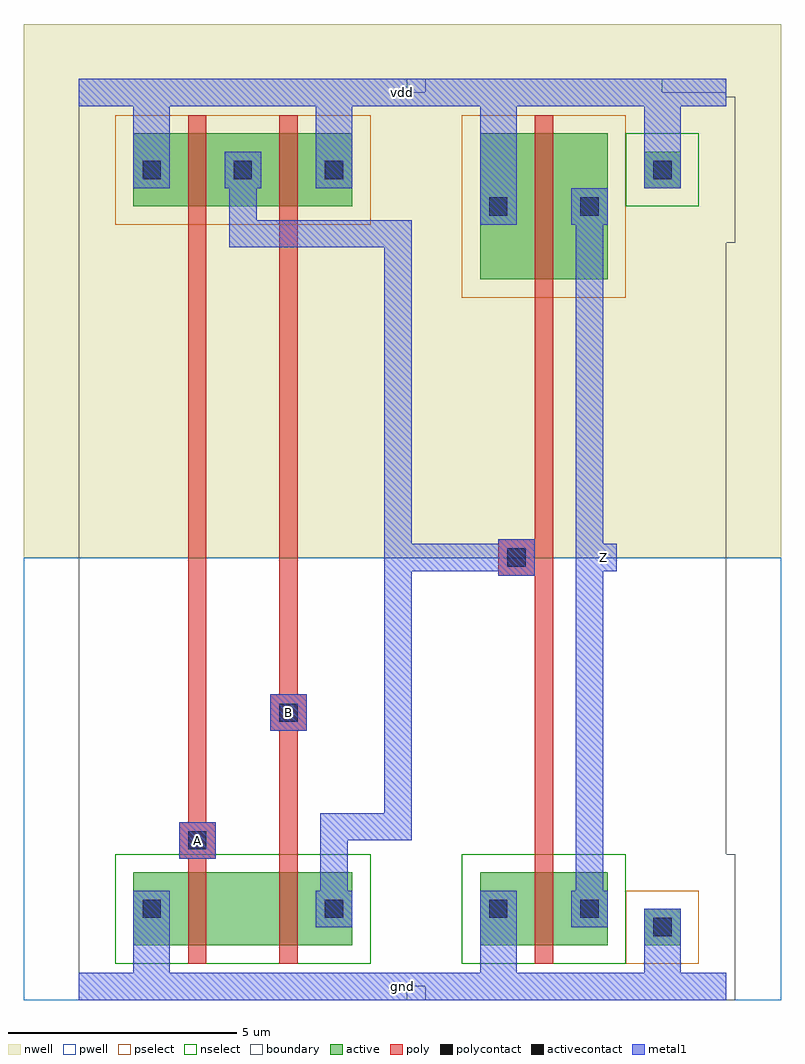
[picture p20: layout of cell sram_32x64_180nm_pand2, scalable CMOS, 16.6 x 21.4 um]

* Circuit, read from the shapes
.subckt sram_32x64_180nm_pand2 A B Z gnd vdd
M1 sram_32x64_180nm_pnand2_0_0/sram_32x64_180nm_nmos_m1_w1_600_sm1_dactive_2/D A gnd gnd nfet w=1.6u l=0.4u
M2 sram_32x64_180nm_pdriver_1/A B sram_32x64_180nm_pnand2_0_0/sram_32x64_180nm_nmos_m1_w1_600_sm1_dactive_2/D gnd nfet w=1.6u l=0.4u
M3 Z sram_32x64_180nm_pdriver_1/A gnd gnd nfet w=1.6u l=0.4u
M4 sram_32x64_180nm_pdriver_1/A A vdd vdd pfet w=1.6u l=0.4u
M5 vdd B sram_32x64_180nm_pdriver_1/A vdd pfet w=1.6u l=0.4u
M6 Z sram_32x64_180nm_pdriver_1/A vdd vdd pfet w=3.2u l=0.4u
.ends

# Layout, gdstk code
import gdstk
lib = gdstk.Library(unit=1e-6, precision=1e-09)
def R(c, l, rs):  # rectangles x0, y0, x1, y1
    for r in rs: c.add(gdstk.rectangle(r[:2], r[2:], *l))
pwell = (41, 0)
nwell = (42, 0)
active = (43, 0)
pselect = (44, 0)
nselect = (45, 0)
poly = (46, 0)
polycontact = (47, 0)
activecontact = (48, 0)
metal1 = (49, 0)
boundary = (63, 0)

sram_32x64_180nm_contact = lib.new_cell('sram_32x64_180nm_contact_12')
R(sram_32x64_180nm_contact, nwell, [(-1.2,-1.2,2,2)])
R(sram_32x64_180nm_contact, active, [(0,0,0.8,0.8)])
R(sram_32x64_180nm_contact, pselect, [(-0.4,-0.4,1.2,1.2)])
R(sram_32x64_180nm_contact, activecontact, [(0.2,0.2,0.6,0.6)])
R(sram_32x64_180nm_contact, metal1, [(0,0,0.8,0.8)])
R(sram_32x64_180nm_contact, boundary, [(-1.2,-1.2,2,2)])

sram_32x64_180nm_pmos_m1 = lib.new_cell('sram_32x64_180nm_pmos_m1_w1_600_sm1_dm1')
R(sram_32x64_180nm_pmos_m1, nwell, [(-1.2,-1.2,4,2.8)])
R(sram_32x64_180nm_pmos_m1, active, [(0,0,2.8,1.6)])
R(sram_32x64_180nm_pmos_m1, pselect, [(-0.4,-0.4,3.2,2)])
R(sram_32x64_180nm_pmos_m1, poly, [(1.2,-0.4,1.6,2), (1.2,-0.4,1.6,2)])
R(sram_32x64_180nm_pmos_m1, metal1, [(0,0.4,0.8,1.2), (2,0.4,2.8,1.2)])
R(sram_32x64_180nm_pmos_m1, boundary, [(-1.2,-1.2,4,2.8)])
sram_32x64_180nm_pmos_m1.add(gdstk.Reference(sram_32x64_180nm_contact, (0,0.4)))
sram_32x64_180nm_pmos_m1.add(gdstk.Reference(sram_32x64_180nm_contact, (2,0.4)))
sram_32x64_180nm_pmos_m1.add(gdstk.Label('G', (1.4,0.8), layer=46, texttype=0))
sram_32x64_180nm_pmos_m1.add(gdstk.Label('S', (0.4,0.8), layer=49, texttype=0))
sram_32x64_180nm_pmos_m1.add(gdstk.Label('D', (2.4,0.8), layer=49, texttype=0))

c_sram_32x64_180nm_contact = lib.new_cell('sram_32x64_180nm_contact_11')
R(c_sram_32x64_180nm_contact, pwell, [(-1.2,-1.2,2,2)])
R(c_sram_32x64_180nm_contact, active, [(0,0,0.8,0.8)])
R(c_sram_32x64_180nm_contact, nselect, [(-0.4,-0.4,1.2,1.2)])
R(c_sram_32x64_180nm_contact, activecontact, [(0.2,0.2,0.6,0.6)])
R(c_sram_32x64_180nm_contact, metal1, [(0,0,0.8,0.8)])
R(c_sram_32x64_180nm_contact, boundary, [(-1.2,-1.2,2,2)])

sram_32x64_180nm_nmos_m1 = lib.new_cell('sram_32x64_180nm_nmos_m1_w1_600_sm1_dactive')
R(sram_32x64_180nm_nmos_m1, pwell, [(-1.2,-1.2,4,2.8)])
R(sram_32x64_180nm_nmos_m1, active, [(0,0,2.8,1.6), (2.1,0.5,2.7,1.1)])
R(sram_32x64_180nm_nmos_m1, nselect, [(-0.4,-0.4,3.2,2)])
R(sram_32x64_180nm_nmos_m1, poly, [(1.2,-0.4,1.6,2), (1.2,-0.4,1.6,2)])
R(sram_32x64_180nm_nmos_m1, metal1, [(0,0.4,0.8,1.2)])
R(sram_32x64_180nm_nmos_m1, boundary, [(-1.2,-1.2,4,2.8)])
sram_32x64_180nm_nmos_m1.add(gdstk.Reference(c_sram_32x64_180nm_contact, (0,0.4)))
sram_32x64_180nm_nmos_m1.add(gdstk.Label('G', (1.4,0.8), layer=46, texttype=0))
sram_32x64_180nm_nmos_m1.add(gdstk.Label('S', (0.4,0.8), layer=49, texttype=0))
sram_32x64_180nm_nmos_m1.add(gdstk.Label('D', (2.4,0.8), layer=43, texttype=0))

c_sram_32x64_180nm_nmos_m1 = lib.new_cell('sram_32x64_180nm_nmos_m1_w1_600_sactive_dm1')
R(c_sram_32x64_180nm_nmos_m1, pwell, [(-1.2,-1.2,4,2.8)])
R(c_sram_32x64_180nm_nmos_m1, active, [(0,0,2.8,1.6), (0.1,0.5,0.7,1.1)])
R(c_sram_32x64_180nm_nmos_m1, nselect, [(-0.4,-0.4,3.2,2)])
R(c_sram_32x64_180nm_nmos_m1, poly, [(1.2,-0.4,1.6,2), (1.2,-0.4,1.6,2)])
R(c_sram_32x64_180nm_nmos_m1, metal1, [(2,0.4,2.8,1.2)])
R(c_sram_32x64_180nm_nmos_m1, boundary, [(-1.2,-1.2,4,2.8)])
c_sram_32x64_180nm_nmos_m1.add(gdstk.Reference(c_sram_32x64_180nm_contact, (2,0.4)))
c_sram_32x64_180nm_nmos_m1.add(gdstk.Label('G', (1.4,0.8), layer=46, texttype=0))
c_sram_32x64_180nm_nmos_m1.add(gdstk.Label('S', (0.4,0.8), layer=43, texttype=0))
c_sram_32x64_180nm_nmos_m1.add(gdstk.Label('D', (2.4,0.8), layer=49, texttype=0))

c_sram_32x64_180nm_contact_ = lib.new_cell('sram_32x64_180nm_contact_15')
R(c_sram_32x64_180nm_contact_, poly, [(0,0,0.8,0.8)])
R(c_sram_32x64_180nm_contact_, polycontact, [(0.2,0.2,0.6,0.6)])
R(c_sram_32x64_180nm_contact_, metal1, [(0,0,0.8,0.8)])
R(c_sram_32x64_180nm_contact_, boundary, [(0,0,0.8,0.8)])

sram_32x64_180nm_pnand2_ = lib.new_cell('sram_32x64_180nm_pnand2_0')
R(sram_32x64_180nm_pnand2_, pwell, [(-1.2,-0.3,8.8,9.4)])
R(sram_32x64_180nm_pnand2_, nwell, [(-1.2,9.4,8.8,21.1)])
R(sram_32x64_180nm_pnand2_, poly, [(2.4,2.8,2.6,3.6), (2.4,2.9,2.8,16.7), (4.4,2.9,4.8,16.7), (4.4,5.6,4.6,6.4)])
R(sram_32x64_180nm_pnand2_, metal1, [(0,-0.3,7.6,0.3), (1.2,-0.3,2,1.3), (5.3,2.1,5.9,3.5), (2.2,2.8,3,3.6), (5.3,3.2,5.9,3.8), (5.6,3.2,7,3.8), (6.7,3.2,7.3,3.8), (6.7,3.5,7.3,16.5), (4.2,5.6,5,6.4), (3.3,16.2,3.9,16.8), (3.6,16.2,7,16.8), (6.7,16.2,7.3,16.8), (3.3,16.5,3.9,17.5), (1.2,17.5,2,19.9), (5.2,17.5,6,19.9), (0,19.3,7.6,19.9)])
R(sram_32x64_180nm_pnand2_, boundary, [(0,0,7.6,19.6), (0,0,7.6,19.6)])
sram_32x64_180nm_pnand2_.add(gdstk.Reference(sram_32x64_180nm_pmos_m1, (1.2,17.1)))
sram_32x64_180nm_pnand2_.add(gdstk.Reference(sram_32x64_180nm_pmos_m1, (3.2,17.1)))
sram_32x64_180nm_pnand2_.add(gdstk.Reference(sram_32x64_180nm_nmos_m1, (1.2,0.9)))
sram_32x64_180nm_pnand2_.add(gdstk.Reference(c_sram_32x64_180nm_nmos_m1, (3.2,0.9)))
sram_32x64_180nm_pnand2_.add(gdstk.Reference(c_sram_32x64_180nm_contact_, (2.2,2.8)))
sram_32x64_180nm_pnand2_.add(gdstk.Reference(c_sram_32x64_180nm_contact_, (4.2,5.6)))
sram_32x64_180nm_pnand2_.add(gdstk.Label('Z', (7,16.5), layer=49, texttype=0))
sram_32x64_180nm_pnand2_.add(gdstk.Label('gnd', (3.8,0), layer=49, texttype=0))
sram_32x64_180nm_pnand2_.add(gdstk.Label('vdd', (3.8,19.6), layer=49, texttype=0))
sram_32x64_180nm_pnand2_.add(gdstk.Label('A', (2.6,3.2), layer=49, texttype=0))
sram_32x64_180nm_pnand2_.add(gdstk.Label('B', (4.6,6), layer=49, texttype=0))

c_sram_32x64_180nm_pmos_m1 = lib.new_cell('sram_32x64_180nm_pmos_m1_w3_200_sm1_dm1_da_p')
R(c_sram_32x64_180nm_pmos_m1, nwell, [(-1.2,-1.2,4,4.4)])
R(c_sram_32x64_180nm_pmos_m1, active, [(0,0,2.8,3.2)])
R(c_sram_32x64_180nm_pmos_m1, pselect, [(-0.4,-0.4,3.2,3.6)])
R(c_sram_32x64_180nm_pmos_m1, poly, [(1.2,-0.4,1.6,3.6), (1.2,-0.4,1.6,3.6)])
R(c_sram_32x64_180nm_pmos_m1, metal1, [(0,1.2,0.8,2), (2,1.2,2.8,2)])
R(c_sram_32x64_180nm_pmos_m1, boundary, [(-1.2,-1.2,4,4.4)])
c_sram_32x64_180nm_pmos_m1.add(gdstk.Reference(sram_32x64_180nm_contact, (0,1.2)))
c_sram_32x64_180nm_pmos_m1.add(gdstk.Reference(sram_32x64_180nm_contact, (2,1.2)))
c_sram_32x64_180nm_pmos_m1.add(gdstk.Label('G', (1.4,1.6), layer=46, texttype=0))
c_sram_32x64_180nm_pmos_m1.add(gdstk.Label('S', (0.4,1.6), layer=49, texttype=0))
c_sram_32x64_180nm_pmos_m1.add(gdstk.Label('D', (2.4,1.6), layer=49, texttype=0))

c_sram_32x64_180nm_nmos_m1_ = lib.new_cell('sram_32x64_180nm_nmos_m1_w1_600_sm1_dm1_da_p')
R(c_sram_32x64_180nm_nmos_m1_, pwell, [(-1.2,-1.2,4,2.8)])
R(c_sram_32x64_180nm_nmos_m1_, active, [(0,0,2.8,1.6)])
R(c_sram_32x64_180nm_nmos_m1_, nselect, [(-0.4,-0.4,3.2,2)])
R(c_sram_32x64_180nm_nmos_m1_, poly, [(1.2,-0.4,1.6,2), (1.2,-0.4,1.6,2)])
R(c_sram_32x64_180nm_nmos_m1_, metal1, [(0,0.4,0.8,1.2), (2,0.4,2.8,1.2)])
R(c_sram_32x64_180nm_nmos_m1_, boundary, [(-1.2,-1.2,4,2.8)])
c_sram_32x64_180nm_nmos_m1_.add(gdstk.Reference(c_sram_32x64_180nm_contact, (0,0.4)))
c_sram_32x64_180nm_nmos_m1_.add(gdstk.Reference(c_sram_32x64_180nm_contact, (2,0.4)))
c_sram_32x64_180nm_nmos_m1_.add(gdstk.Label('G', (1.4,0.8), layer=46, texttype=0))
c_sram_32x64_180nm_nmos_m1_.add(gdstk.Label('S', (0.4,0.8), layer=49, texttype=0))
c_sram_32x64_180nm_nmos_m1_.add(gdstk.Label('D', (2.4,0.8), layer=49, texttype=0))

c_sram_32x64_180nm_contact__ = lib.new_cell('sram_32x64_180nm_contact_13')
R(c_sram_32x64_180nm_contact__, nwell, [(-1.2,-1.2,2,2)])
R(c_sram_32x64_180nm_contact__, active, [(0,0,0.8,0.8)])
R(c_sram_32x64_180nm_contact__, nselect, [(-0.4,-0.4,1.2,1.2)])
R(c_sram_32x64_180nm_contact__, activecontact, [(0.2,0.2,0.6,0.6)])
R(c_sram_32x64_180nm_contact__, metal1, [(0,0,0.8,0.8)])
R(c_sram_32x64_180nm_contact__, boundary, [(-1.2,-1.2,2,2)])

c_sram_32x64_180nm_contact___ = lib.new_cell('sram_32x64_180nm_contact_14')
R(c_sram_32x64_180nm_contact___, pwell, [(-1.2,-1.2,2,2)])
R(c_sram_32x64_180nm_contact___, active, [(0,0,0.8,0.8)])
R(c_sram_32x64_180nm_contact___, pselect, [(-0.4,-0.4,1.2,1.2)])
R(c_sram_32x64_180nm_contact___, activecontact, [(0.2,0.2,0.6,0.6)])
R(c_sram_32x64_180nm_contact___, metal1, [(0,0,0.8,0.8)])
R(c_sram_32x64_180nm_contact___, boundary, [(-1.2,-1.2,2,2)])

sram_32x64_180nm_pinv_1 = lib.new_cell('sram_32x64_180nm_pinv_1')
R(sram_32x64_180nm_pinv_1, pwell, [(-1.2,-0.3,7.8,9.4)])
R(sram_32x64_180nm_pinv_1, nwell, [(-1.2,9.4,7.8,21.1)])
R(sram_32x64_180nm_pinv_1, poly, [(2.4,2.9,2.8,15.1), (2,9,2.4,9.8)])
R(sram_32x64_180nm_pinv_1, metal1, [(0,-0.3,6.6,0.3), (1.2,-0.3,2,1.3), (4.8,0,5.6,1.3), (3.3,1.3,3.9,17.5), (1.6,9,2.4,9.8), (3.6,9.1,4.2,9.7), (1.2,16.7,2,19.9), (4.8,17.9,5.6,19.6), (0,19.3,6.6,19.9)])
R(sram_32x64_180nm_pinv_1, boundary, [(0,0,6.6,19.6), (0,0,6.6,19.6)])
sram_32x64_180nm_pinv_1.add(gdstk.Reference(c_sram_32x64_180nm_pmos_m1, (1.2,15.5)))
sram_32x64_180nm_pinv_1.add(gdstk.Reference(c_sram_32x64_180nm_nmos_m1_, (1.2,0.9)))
sram_32x64_180nm_pinv_1.add(gdstk.Reference(c_sram_32x64_180nm_contact__, (4.8,17.5)))
sram_32x64_180nm_pinv_1.add(gdstk.Reference(c_sram_32x64_180nm_contact___, (4.8,0.9)))
sram_32x64_180nm_pinv_1.add(gdstk.Reference(c_sram_32x64_180nm_contact_, (1.6,9)))
sram_32x64_180nm_pinv_1.add(gdstk.Label('A', (2,9.4), layer=49, texttype=0))
sram_32x64_180nm_pinv_1.add(gdstk.Label('Z', (3.9,9.4), layer=49, texttype=0))
sram_32x64_180nm_pinv_1.add(gdstk.Label('gnd', (3.3,0), layer=49, texttype=0))
sram_32x64_180nm_pinv_1.add(gdstk.Label('vdd', (3.3,19.6), layer=49, texttype=0))

sram_32x64_180nm_pdriver = lib.new_cell('sram_32x64_180nm_pdriver')
R(sram_32x64_180nm_pdriver, pwell, [(-1.2,-0.3,7.8,9.4)])
R(sram_32x64_180nm_pdriver, nwell, [(-1.2,9.4,7.8,21.1)])
R(sram_32x64_180nm_pdriver, metal1, [(0,-0.3,6.6,0.3), (1.6,9,2.4,9.8), (3.6,9.1,4.2,9.7), (0,19.3,6.6,19.9)])
R(sram_32x64_180nm_pdriver, boundary, [(0,0,6.6,19.6), (0,0,6.6,19.6)])
sram_32x64_180nm_pdriver.add(gdstk.Reference(sram_32x64_180nm_pinv_1, (0,0)))
sram_32x64_180nm_pdriver.add(gdstk.Label('Z', (3.9,9.4), layer=49, texttype=0))
sram_32x64_180nm_pdriver.add(gdstk.Label('A', (2,9.4), layer=49, texttype=0))
sram_32x64_180nm_pdriver.add(gdstk.Label('gnd', (3.3,0), layer=49, texttype=0))
sram_32x64_180nm_pdriver.add(gdstk.Label('vdd', (3.3,19.6), layer=49, texttype=0))

sram_32x64_180nm_pand2 = lib.new_cell('sram_32x64_180nm_pand2')
R(sram_32x64_180nm_pand2, metal1, [(0,-0.3,14.2,0.3), (2.2,2.8,3,3.6), (4.2,5.6,5,6.4), (6.7,9.1,7.3,9.7), (7,9.1,9.6,9.7), (11.2,9.1,11.8,9.7), (6.7,9.4,7.3,16.5), (0,19.3,14.2,19.9)])
R(sram_32x64_180nm_pand2, boundary, [(0,0,14.2,19.6), (0,0,14.2,19.6)])
sram_32x64_180nm_pand2.add(gdstk.Reference(sram_32x64_180nm_pnand2_, (0,0)))
sram_32x64_180nm_pand2.add(gdstk.Reference(sram_32x64_180nm_pdriver, (7.6,0)))
sram_32x64_180nm_pand2.add(gdstk.Label('Z', (11.5,9.4), layer=49, texttype=0))
sram_32x64_180nm_pand2.add(gdstk.Label('A', (2.6,3.2), layer=49, texttype=0))
sram_32x64_180nm_pand2.add(gdstk.Label('B', (4.6,6), layer=49, texttype=0))
sram_32x64_180nm_pand2.add(gdstk.Label('gnd', (7.1,0), layer=49, texttype=0))
sram_32x64_180nm_pand2.add(gdstk.Label('vdd', (7.1,19.6), layer=49, texttype=0))

lib.write_gds('sram_32x64_180nm_pand2.gds')
